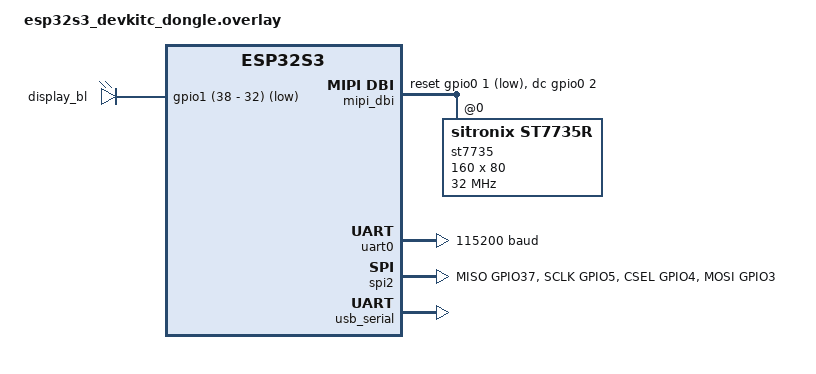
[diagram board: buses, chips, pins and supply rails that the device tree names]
#include <zephyr/dt-bindings/mipi_dbi/mipi_dbi.h>
#include <zephyr/dt-bindings/pinctrl/esp32s3-pinctrl.h>

/ {
    aliases
	{
        display-ctrl = &st7735;
    };

    leds
	{
        compatible = "gpio-leds";
        display_bl: display_bl_node
		{
            gpios = <&gpio1 (38 - 32) GPIO_ACTIVE_LOW>;
        };
    };

    mipi_dbi
	{
        compatible = "zephyr,mipi-dbi-spi";
        reset-gpios = <&gpio0 1 GPIO_ACTIVE_LOW>;
        dc-gpios = <&gpio0 2 GPIO_ACTIVE_HIGH>;
		spi-dev = <&spi2>;
        #address-cells = <1>;
        #size-cells = <0>;

        st7735: st7735@0
		{
            compatible = "sitronix,st7735r";
            reg = <0>;
			mipi-max-frequency = <32000000>;
			mipi-mode = "MIPI_DBI_MODE_SPI_4WIRE";

            height = <80>;
            width = <160>;
            x-offset = <1>;
			y-offset = <26>;

            madctl = < 0x60 >; //set to RGB but display shows RBG so software swap is needed
            colmod = < 0x05 >;
            // rgb-is-inverted;
            inversion-on;
            vmctr1 = < 0xe >;
            pwctr1 = [ A2 02 84 ];
            pwctr2 = [ C5 ];
            pwctr3 = [ 0A 00 ];
            pwctr4 = [ 8A 2A ];
            pwctr5 = [ 8A EE ];
            frmctr1 = [ 01 2C 2D ];
            frmctr2 = [ 01 2C 2D ];
            frmctr3 = [ 01 2C 2D 01 2C 2D ];
            gamctrp1 = [ 02 1C 07 12 37 32 29 2D 29 25 2B 39 00 01 03 10 ];
            gamctrn1 = [ 03 1D 07 06 2E 2C 29 2D 2E 2E 37 3F 00 00 02 10 ];
        };
    };
};

/delete-node/ &slot0_appcpu_partition;
/delete-node/ &slot1_partition;
/delete-node/ &slot1_appcpu_partition;
/delete-node/ &slot0_lpcore_partition;
/delete-node/ &slot1_lpcore_partition;
/delete-node/ &storage_partition;
/delete-node/ &scratch_partition;
/delete-node/ &coredump_partition;

&flash0
{
    reg = <0x0 DT_SIZE_M(16)>; // Address, size (16MB)

    partitions {
        slot0_partition: partition@20000
		{
            label = "image-0";
            reg = <0x20000 DT_SIZE_K(512)>;
            read-only;
        };
        game_settings_partition: partition@a0000
		{
            label = "game-settings-partition";
            reg = <0xa0000 0x1000>;
        };
        game_saves_partition: partition@a1000
		{
            label = "game-saves-partition";
            reg = <0xa1000 0x1000>;
        };
        cache_partition: partition@a2000
		{
            label = "cache-partition";
            reg = <0xa2000 (0x22b000 - 0xa2000)>;
        };
        wad_partition: partition@22b000
		{
            label = "wad-partition";
            reg = <0x22b000 (DT_SIZE_M(16) - 0x22b000)>;
            read-only;
        };
    };
};

&uart0
{
    status = "okay";
    current-speed = <115200>;
};

&pinctrl
{
	spim2_default: spim2_default 
	{
		group1 
		{
			pinmux = <SPIM2_MISO_GPIO37>, //miso is not used so put it on some not used pin
			         <SPIM2_SCLK_GPIO5>,
			         <SPIM2_CSEL_GPIO4>;
		};
		group2 
		{
			pinmux = <SPIM2_MOSI_GPIO3>;
			output-low;
		};
	};
};

&spi2 {
	status = "okay";
	pinctrl-0 = <&spim2_default>;
	pinctrl-names = "default";
	dma-enabled;
};

&usb_serial
{
	status = "okay";
};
